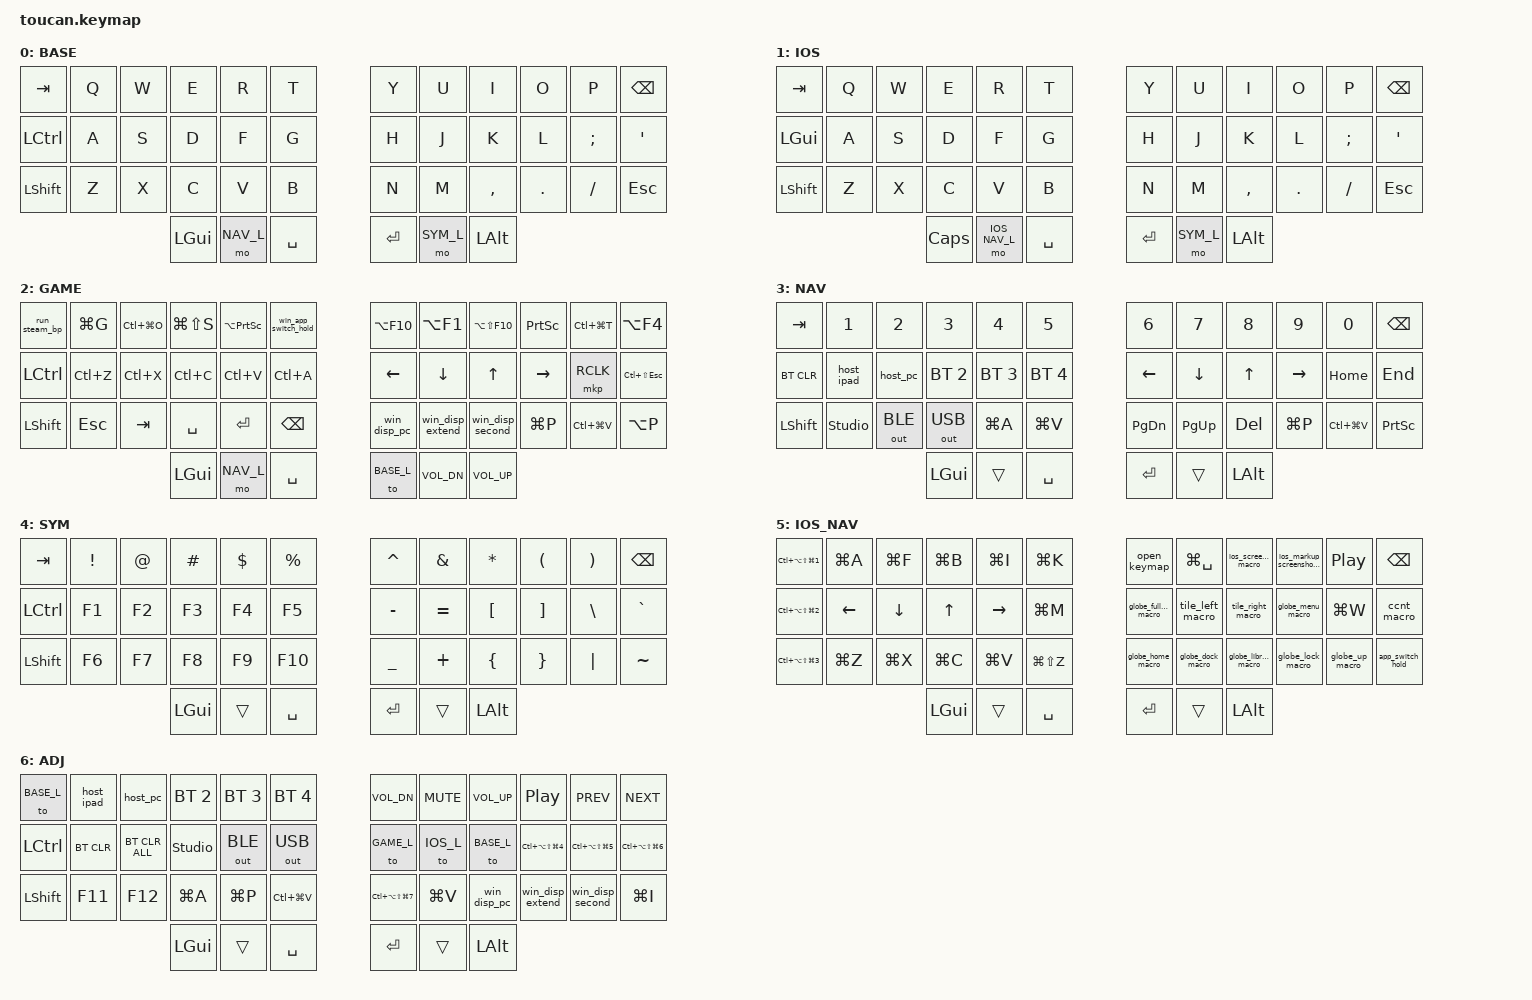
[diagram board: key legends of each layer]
/*
 * Toucan Split Keyboard — Allen Schiffman optimized keymap v7
 * Generated: 2026-06-24
 * SPDX-License-Identifier: MIT
 *
 * Source-of-truth architecture:
 *   BASE=0, IOS=1, GAME=2, NAV=3, SYM=4, IOS_NAV=5, ADJ=6.
 *   iPad = Bluetooth profile 0. Windows PC = Bluetooth profile 1.
 *   iPadOS remaps Caps Lock to Globe in Hardware Keyboard > Modifier Keys.
 *
 * v7 highlights:
 *   - Symmetric Cirque scrolling from either orange thumb on BASE and IOS.
 *   - Reliable order-independent IOS_NAV + SYM tri-layer.
 *   - Only Allen's three required NVIDIA shortcuts remain.
 *   - Holdable Command-Tab and Alt-Tab switchers.
 *   - FKA navigation moved off ordinary Tab/Shift-Tab/Space.
 *   - Host+OS macros keep Bluetooth profile and key layer synchronized.
 */

#include <behaviors.dtsi>
#include <dt-bindings/zmk/keys.h>
#include <dt-bindings/zmk/bt.h>
#include <dt-bindings/zmk/outputs.h>
#include <dt-bindings/zmk/mouse.h>

#define BASE_L     0
#define IOS_L      1
#define GAME_L     2
#define NAV_L      3
#define SYM_L      4
#define IOS_NAV_L  5
#define ADJ_L      6

/* Beekeeb's stock Toucan listener converts the Cirque to scroll on selected layers.
 * Include both orange-thumb layers for each OS:
 *   BASE: NAV or SYM
 *   IOS:  IOS_NAV or SYM
 */
&glidepoint_listener {
    scroller {
        layers = <NAV_L SYM_L IOS_NAV_L>;
    };
};

/ {
    macros {

        /* Multi-device host selectors: profile + output + OS layer remain synchronized. */
        host_ipad: host_ipad {
            compatible = "zmk,behavior-macro";
            #binding-cells = <0>;
            wait-ms = <25>;
            tap-ms = <25>;
            bindings = <&out OUT_BLE>, <&bt BT_SEL 0>, <&to IOS_L>;
        };

        host_pc: host_pc {
            compatible = "zmk,behavior-macro";
            #binding-cells = <0>;
            wait-ms = <25>;
            tap-ms = <25>;
            bindings = <&out OUT_BLE>, <&bt BT_SEL 1>, <&to BASE_L>;
        };

        ccnt_macro: ccnt_macro {
            compatible = "zmk,behavior-macro";
            #binding-cells = <0>;
            bindings = <&macro_press &kp CAPS>, <&macro_tap &kp C>, <&macro_release &kp CAPS>;
        };

        globe_lock_macro: globe_lock_macro {
            compatible = "zmk,behavior-macro";
            #binding-cells = <0>;
            bindings = <&macro_press &kp CAPS>, <&macro_tap &kp N>, <&macro_release &kp CAPS>;
        };

        globe_home_macro: globe_home_macro {
            compatible = "zmk,behavior-macro";
            #binding-cells = <0>;
            bindings = <&macro_press &kp CAPS>, <&macro_tap &kp H>, <&macro_release &kp CAPS>;
        };

        globe_dock_macro: globe_dock_macro {
            compatible = "zmk,behavior-macro";
            #binding-cells = <0>;
            bindings = <&macro_press &kp CAPS>, <&macro_tap &kp A>, <&macro_release &kp CAPS>;
        };

        globe_library_macro: globe_library_macro {
            compatible = "zmk,behavior-macro";
            #binding-cells = <0>;
            bindings = <&macro_press &kp CAPS>, <&macro_press &kp LSHFT>, <&macro_tap &kp A>,
                       <&macro_release &kp LSHFT>, <&macro_release &kp CAPS>;
        };

        globe_menu_macro: globe_menu_macro {
            compatible = "zmk,behavior-macro";
            #binding-cells = <0>;
            bindings = <&macro_press &kp CAPS>, <&macro_tap &kp M>, <&macro_release &kp CAPS>;
        };

        globe_fullscreen_macro: globe_fullscreen_macro {
            compatible = "zmk,behavior-macro";
            #binding-cells = <0>;
            bindings = <&macro_press &kp CAPS>, <&macro_tap &kp F>, <&macro_release &kp CAPS>;
        };

        globe_up_macro: globe_up_macro {
            compatible = "zmk,behavior-macro";
            #binding-cells = <0>;
            bindings = <&macro_press &kp CAPS>, <&macro_tap &kp UP>, <&macro_release &kp CAPS>;
        };

        tile_left_macro: tile_left_macro {
            compatible = "zmk,behavior-macro";
            #binding-cells = <0>;
            bindings = <&macro_press &kp LCTRL>, <&macro_press &kp CAPS>, <&macro_tap &kp LEFT>,
                       <&macro_release &kp CAPS>, <&macro_release &kp LCTRL>;
        };

        tile_right_macro: tile_right_macro {
            compatible = "zmk,behavior-macro";
            #binding-cells = <0>;
            bindings = <&macro_press &kp LCTRL>, <&macro_press &kp CAPS>, <&macro_tap &kp RIGHT>,
                       <&macro_release &kp CAPS>, <&macro_release &kp LCTRL>;
        };

        ios_screenshot_macro: ios_screenshot_macro {
            compatible = "zmk,behavior-macro";
            #binding-cells = <0>;
            bindings = <&macro_press &kp LGUI>, <&macro_press &kp LSHFT>, <&macro_tap &kp N3>,
                       <&macro_release &kp LSHFT>, <&macro_release &kp LGUI>;
        };

        ios_markup_screenshot_macro: ios_markup_screenshot_macro {
            compatible = "zmk,behavior-macro";
            #binding-cells = <0>;
            bindings = <&macro_press &kp LGUI>, <&macro_press &kp LSHFT>, <&macro_tap &kp N4>,
                       <&macro_release &kp LSHFT>, <&macro_release &kp LGUI>;
        };

        /* Tap for the next app; hold to leave Command down while Tab/Shift+Tab is used. */
        app_switch_hold: app_switch_hold {
            compatible = "zmk,behavior-macro";
            #binding-cells = <0>;
            wait-ms = <20>;
            tap-ms = <30>;
            bindings = <&macro_press &kp LGUI>, <&macro_tap &kp TAB>,
                       <&macro_pause_for_release>, <&macro_release &kp LGUI>;
        };

        /* Windows equivalent: tap for the previous app; hold to choose with Tab/Shift+Tab. */
        win_app_switch_hold: win_app_switch_hold {
            compatible = "zmk,behavior-macro";
            #binding-cells = <0>;
            wait-ms = <20>;
            tap-ms = <30>;
            bindings = <&macro_press &kp LALT>, <&macro_tap &kp TAB>,
                       <&macro_pause_for_release>, <&macro_release &kp LALT>;
        };

        /* Reliable fallback for the iPad Shortcut named exactly "Open Keymap".
         * The long post-Spotlight delay prevents iPadOS from swallowing the initial O over BLE.
         */
        open_keymap: open_keymap {
            compatible = "zmk,behavior-macro";
            #binding-cells = <0>;
            wait-ms = <110>;
            tap-ms = <70>;
            bindings = <&macro_press &kp LGUI>, <&macro_tap &kp SPACE>, <&macro_release &kp LGUI>,
                       <&macro_wait_time 900>,
                       <&macro_tap &kp O &kp P &kp E &kp N &kp SPACE &kp K &kp E &kp Y &kp M &kp A &kp P>,
                       <&macro_wait_time 350>, <&macro_tap &kp RET>;
        };

        run_steam_bp: run_steam_bp {
            compatible = "zmk,behavior-macro";
            #binding-cells = <0>;
            wait-ms = <55>;
            tap-ms = <55>;
            bindings = <&macro_press &kp LGUI>, <&macro_tap &kp R>, <&macro_release &kp LGUI>,
                       <&macro_wait_time 300>,
                       <&macro_tap &kp S &kp T &kp E &kp A &kp M &kp COLON &kp FSLH &kp FSLH &kp O &kp P &kp E &kp N &kp FSLH &kp B &kp I &kp G &kp P &kp I &kp C &kp T &kp U &kp R &kp E>,
                       <&macro_wait_time 250>, <&macro_tap &kp RET>;
        };

        win_disp_pc: win_disp_pc {
            compatible = "zmk,behavior-macro";
            #binding-cells = <0>;
            wait-ms = <50>;
            tap-ms = <50>;
            bindings = <&macro_press &kp LGUI>, <&macro_tap &kp R>, <&macro_release &kp LGUI>,
                       <&macro_wait_time 300>,
                       <&macro_tap &kp D &kp I &kp S &kp P &kp L &kp A &kp Y &kp S &kp W &kp I &kp T &kp C &kp H &kp DOT &kp E &kp X &kp E &kp SPACE &kp FSLH &kp I &kp N &kp T &kp E &kp R &kp N &kp A &kp L>,
                       <&macro_wait_time 250>, <&macro_tap &kp RET>;
        };

        win_disp_extend: win_disp_extend {
            compatible = "zmk,behavior-macro";
            #binding-cells = <0>;
            wait-ms = <50>;
            tap-ms = <50>;
            bindings = <&macro_press &kp LGUI>, <&macro_tap &kp R>, <&macro_release &kp LGUI>,
                       <&macro_wait_time 300>,
                       <&macro_tap &kp D &kp I &kp S &kp P &kp L &kp A &kp Y &kp S &kp W &kp I &kp T &kp C &kp H &kp DOT &kp E &kp X &kp E &kp SPACE &kp FSLH &kp E &kp X &kp T &kp E &kp N &kp D>,
                       <&macro_wait_time 250>, <&macro_tap &kp RET>;
        };

        win_disp_second: win_disp_second {
            compatible = "zmk,behavior-macro";
            #binding-cells = <0>;
            wait-ms = <50>;
            tap-ms = <50>;
            bindings = <&macro_press &kp LGUI>, <&macro_tap &kp R>, <&macro_release &kp LGUI>,
                       <&macro_wait_time 300>,
                       <&macro_tap &kp D &kp I &kp S &kp P &kp L &kp A &kp Y &kp S &kp W &kp I &kp T &kp C &kp H &kp DOT &kp E &kp X &kp E &kp SPACE &kp FSLH &kp E &kp X &kp T &kp E &kp R &kp N &kp A &kp L>,
                       <&macro_wait_time 250>, <&macro_tap &kp RET>;
        };
    };

    conditional_layers {
        compatible = "zmk,conditional-layers";

        tri_layer_base {
            if-layers = <NAV_L SYM_L>;
            then-layer = <ADJ_L>;
        };

        tri_layer_ios {
            if-layers = <IOS_NAV_L SYM_L>;
            then-layer = <ADJ_L>;
        };
    };

    keymap {
        compatible = "zmk,keymap";

        /* Layer 0: BASE — Windows 11 typing base */
        default_layer {
            display-name = "BASE";
            bindings = <
    &kp TAB                        &kp Q                          &kp W                          &kp E                          &kp R                          &kp T                          &kp Y                          &kp U                          &kp I                          &kp O                          &kp P                          &kp BSPC
    &kp LCTRL                      &kp A                          &kp S                          &kp D                          &kp F                          &kp G                          &kp H                          &kp J                          &kp K                          &kp L                          &kp SEMI                       &kp SQT
    &kp LSHFT                      &kp Z                          &kp X                          &kp C                          &kp V                          &kp B                          &kp N                          &kp M                          &kp COMMA                      &kp DOT                        &kp FSLH                       &kp ESC
                                   &kp LGUI                       &mo NAV_L                      &kp SPC                        &kp RET                        &mo SYM_L                      &kp LALT
            >;
        };
        /* Layer 1: IOS — iPadOS typing base */
        ios_layer {
            display-name = "IOS";
            bindings = <
    &kp TAB                        &kp Q                          &kp W                          &kp E                          &kp R                          &kp T                          &kp Y                          &kp U                          &kp I                          &kp O                          &kp P                          &kp BSPC
    &kp LGUI                       &kp A                          &kp S                          &kp D                          &kp F                          &kp G                          &kp H                          &kp J                          &kp K                          &kp L                          &kp SEMI                       &kp SQT
    &kp LSHFT                      &kp Z                          &kp X                          &kp C                          &kp V                          &kp B                          &kp N                          &kp M                          &kp COMMA                      &kp DOT                        &kp FSLH                       &kp ESC
                                   &kp CAPS                       &mo IOS_NAV_L                  &kp SPC                        &kp RET                        &mo SYM_L                      &kp LALT
            >;
        };
        /* Layer 2: GAME — Windows couch/controller command deck */
        game_layer {
            display-name = "GAME";
            bindings = <
    &run_steam_bp                  &kp LG(G)                      &kp LC(LG(O))                  &kp LG(LS(S))                  &kp LA(PSCRN)                  &win_app_switch_hold           &kp LA(F10)                    &kp LA(F1)                     &kp LA(LS(F10))                &kp PSCRN                      &kp LC(LG(T))                  &kp LA(F4)
    &kp LCTRL                      &kp LC(Z)                      &kp LC(X)                      &kp LC(C)                      &kp LC(V)                      &kp LC(A)                      &kp LEFT                       &kp DOWN                       &kp UP                         &kp RIGHT                      &mkp RCLK                      &kp LC(LS(ESC))
    &kp LSHFT                      &kp ESC                        &kp TAB                        &kp SPACE                      &kp RET                        &kp BSPC                       &win_disp_pc                   &win_disp_extend               &win_disp_second               &kp LG(P)                      &kp LC(LG(V))                  &kp LA(P)
                                   &kp LGUI                       &mo NAV_L                      &kp SPACE                      &to BASE_L                     &kp C_VOL_DN                   &kp C_VOL_UP
            >;
        };
        /* Layer 3: NAV — Numbers, navigation, hosts, outputs and Windows overflow */
        nav_layer {
            display-name = "NAV";
            bindings = <
    &kp TAB                        &kp N1                         &kp N2                         &kp N3                         &kp N4                         &kp N5                         &kp N6                         &kp N7                         &kp N8                         &kp N9                         &kp N0                         &kp BSPC
    &bt BT_CLR                     &host_ipad                     &host_pc                       &bt BT_SEL 2                   &bt BT_SEL 3                   &bt BT_SEL 4                   &kp LEFT                       &kp DOWN                       &kp UP                         &kp RIGHT                      &kp HOME                       &kp END
    &kp LSHFT                      &studio_unlock                 &out OUT_BLE                   &out OUT_USB                   &kp LG(A)                      &kp LG(V)                      &kp PG_DN                      &kp PG_UP                      &kp DEL                        &kp LG(P)                      &kp LC(LG(V))                  &kp PSCRN
                                   &kp LGUI                       &trans                         &kp SPC                        &kp RET                        &trans                         &kp LALT
            >;
        };
        /* Layer 4: SYM — Symbols plus F1-F10 */
        sym_layer {
            display-name = "SYM";
            bindings = <
    &kp TAB                        &kp EXCL                       &kp AT                         &kp HASH                       &kp DLLR                       &kp PRCNT                      &kp CARET                      &kp AMPS                       &kp ASTRK                      &kp LPAR                       &kp RPAR                       &kp BSPC
    &kp LCTRL                      &kp F1                         &kp F2                         &kp F3                         &kp F4                         &kp F5                         &kp MINUS                      &kp EQUAL                      &kp LBKT                       &kp RBKT                       &kp BSLH                       &kp GRAVE
    &kp LSHFT                      &kp F6                         &kp F7                         &kp F8                         &kp F9                         &kp F10                        &kp UNDER                      &kp PLUS                       &kp LBRC                       &kp RBRC                       &kp PIPE                       &kp TILDE
                                   &kp LGUI                       &trans                         &kp SPC                        &kp RET                        &trans                         &kp LALT
            >;
        };
        /* Layer 5: IOS_NAV — iPadOS navigation, windowing, editing and FKA controls */
        ios_nav_layer {
            display-name = "IOS_NAV";
            bindings = <
    &kp LC(LA(LS(LG(N1))))         &kp LG(A)                      &kp LG(F)                      &kp LG(B)                      &kp LG(I)                      &kp LG(K)                      &open_keymap                   &kp LG(SPACE)                  &ios_screenshot_macro          &ios_markup_screenshot_macro    &kp C_PP                       &kp BSPC
    &kp LC(LA(LS(LG(N2))))         &kp LEFT                       &kp DOWN                       &kp UP                         &kp RIGHT                      &kp LG(M)                      &globe_fullscreen_macro        &tile_left_macro               &tile_right_macro              &globe_menu_macro              &kp LG(W)                      &ccnt_macro
    &kp LC(LA(LS(LG(N3))))         &kp LG(Z)                      &kp LG(X)                      &kp LG(C)                      &kp LG(V)                      &kp LG(LS(Z))                  &globe_home_macro              &globe_dock_macro              &globe_library_macro           &globe_lock_macro              &globe_up_macro                &app_switch_hold
                                   &kp LGUI                       &trans                         &kp SPC                        &kp RET                        &trans                         &kp LALT
            >;
        };
        /* Layer 6: ADJ — Host/media/firmware/FKA/system adjustment */
        adj_layer {
            display-name = "ADJ";
            bindings = <
    &to BASE_L                     &host_ipad                     &host_pc                       &bt BT_SEL 2                   &bt BT_SEL 3                   &bt BT_SEL 4                   &kp C_VOL_DN                   &kp C_MUTE                     &kp C_VOL_UP                   &kp C_PP                       &kp C_PREV                     &kp C_NEXT
    &kp LCTRL                      &bt BT_CLR                     &bt BT_CLR_ALL                 &studio_unlock                 &out OUT_BLE                   &out OUT_USB                   &to GAME_L                     &to IOS_L                      &to BASE_L                     &kp LC(LA(LS(LG(N4))))         &kp LC(LA(LS(LG(N5))))         &kp LC(LA(LS(LG(N6))))
    &kp LSHFT                      &kp F11                        &kp F12                        &kp LG(A)                      &kp LG(P)                      &kp LC(LG(V))                  &kp LC(LA(LS(LG(N7))))         &kp LG(V)                      &win_disp_pc                   &win_disp_extend               &win_disp_second               &kp LG(I)
                                   &kp LGUI                       &trans                         &kp SPC                        &kp RET                        &trans                         &kp LALT
            >;
        };
    };
};
